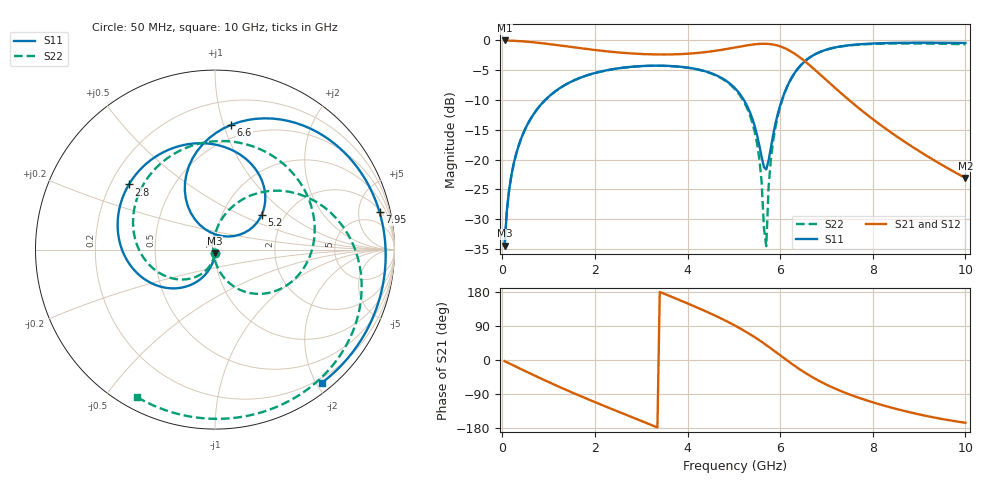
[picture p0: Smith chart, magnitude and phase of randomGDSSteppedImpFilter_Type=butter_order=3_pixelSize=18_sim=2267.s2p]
! freq	dB(S11)	phase(S11)	dB(S12)	phase(S12)
!  dB(S21)	phase(S21)	dB(S22)	phase(S22)
!S-par simulation data
#  GHz  S  DB  R 50
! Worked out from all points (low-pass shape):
!   200 points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, 50 MHz to 10 GHz, reference 50 ohm
!   highest |S21| = 0.00 dB at 50 MHz (marker M1); lowest = -23.1 dB at 10 GHz (marker M2)
!   |S21| within 3 dB of the highest: start of sweep to 6.453 GHz
!   lowest |S11| = -34.5 dB at 50 MHz (marker M3), VSWR 1.04, Z = 49.9 - j1.89 ohm
!   |S11| at or under -10 dB: start of sweep to 926.9 MHz; 5.216 GHz to 6.038 GHz (822.3 MHz wide, 14.6 % of centre)
!   |S22| runs from -34.5 to -0.5 dB; largest |S21 - S12| = 0
!   S11 on the Smith chart (normalised r, x): 50 MHz: 1.00, -0.04; 2.8 GHz: 0.28, +0.31; 5.2 GHz: 1.53, +0.66; 6.6 GHz: 0.39, +1.06; 7.95 GHz: 2.32, +8.31; 10 GHz: 0.13, -2.08
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0.05  -34.46 -92.5  -0.00 -3.0  -0.00 -3.0  -34.47 -93.4
0.2  -22.48 -100.6  -0.05 -12.0  -0.05 -12.0  -22.49 -104.0
0.5  -14.78 -116.1  -0.19 -29.7  -0.19 -29.7  -14.79 -124.4
1.1  -8.80 -145.1  -0.70 -63.8  -0.70 -63.8  -8.81 -163.6
1.75  -6.07 -174.1  -1.37 -98.4  -1.37 -98.4  -6.08 156.0
2.8  -4.42 142.9  -2.19 -150.9  -2.19 -150.9  -4.43 94.2
3.4  -4.23 118.7  -2.36 179.6  -2.36 179.6  -4.25 59.9
4.25  -4.91 82.5  -2.08 136.2  -2.08 136.2  -4.94 11.0
5.05  -8.24 43.8  -1.15 89.2  -1.15 89.2  -8.41 -39.7
5.2  -9.79 36.6  -0.94 78.9  -0.94 78.9  -10.06 -50.7
5.5  -15.86 31.1  -0.61 56.2  -0.61 56.2  -17.24 -76.2
5.7  -21.64 83.3  -0.57 39.5  -0.57 39.5  -34.53 124.8
5.75  -20.17 103.9  -0.59 35.1  -0.59 35.1  -24.66 96.2
5.8  -17.95 115.9  -0.63 30.6  -0.63 30.6  -19.91 87.6
5.95  -12.30 123.5  -0.87 17.1  -0.87 17.1  -12.64 70.8
6.25  -6.25 107.3  -1.91 -9.9  -1.91 -9.9  -6.27 42.5
6.6  -3.08 82.6  -3.92 -38.4  -3.92 -38.4  -3.07 13.9
6.7  -2.56 75.9  -4.59 -45.7  -4.59 -45.7  -2.55 6.7
7.2  -1.16 46.5  -8.06 -76.2  -8.06 -76.2  -1.17 -23.5
7.95  -0.54 12.8  -12.91 -109.8  -12.91 -109.8  -0.60 -56.2
8.35  -0.43 -2.1  -15.21 -124.0  -15.21 -124.0  -0.52 -70.3
10  -0.43 -51.3  -23.09 -165.7  -23.09 -165.7  -0.63 -117.7
